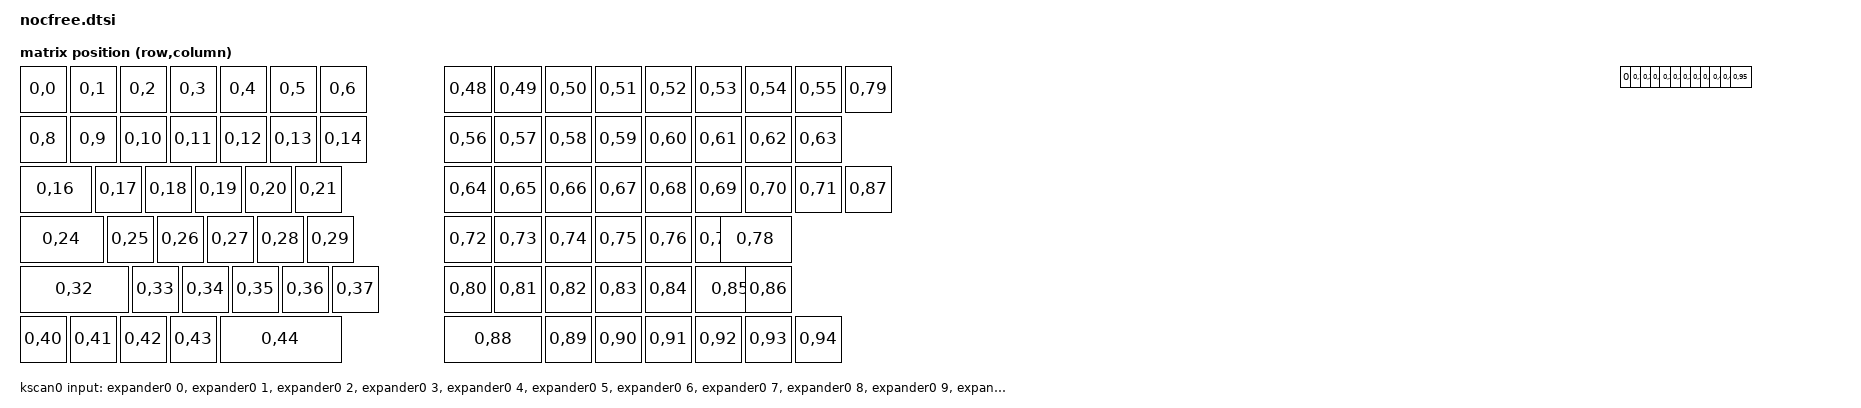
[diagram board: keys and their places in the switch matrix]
/*
 * Shared hardware definition for the NocFree "&" split keyboard (nRF52833).
 *
 * Pin assignments below were determined empirically (flash-and-test) and hold
 * for both halves EXCEPT where noted; the right half's differing pins are
 * overridden in nocfree_right_*.dts. Re-verify against both halves before
 * changing anything here.
 *
 *   MCU            nRF52833 (both halves and the dongle)
 *   I2C            SDA P0.11, SCL P1.09, 400 kHz
 *   Key inputs     3x PCA9555 16-bit I/O expanders at 0x20 / 0x22 / 0x24,
 *                    all pins configured as inverted inputs
 *                    => NOT a scanned matrix. 48 direct-wired keys, one per pin.
 *   Expander INT   LEFT: P0.31   RIGHT: P0.05  (differ between halves)
 *   Battery        ADC on P0.04 (AIN2), divider enable P0.05 (high only while sampling)
 *   Status LED     P0.09
 *
 * KEY MAPPING: each expander port maps one 8-bit "row" per half, so the
 * input-gpios order below is already row-major and needs no reordering. Which
 * physical columns belong to which half was determined empirically.
 */

#include <dt-bindings/zmk/matrix_transform.h>
#include <dt-bindings/regulator/nrf5x.h>
#include <physical_layouts.dtsi>
#include <nordic/nrf52833_qiaa.dtsi>
/* Required for &bootloader to reach the UF2 bootloader on ZMK main:
 * defines the gpregret1 retention area + magic mapper. Without it
 * &bootloader is a plain reset. */
#include <common/nordic/nrf52833_uf2_boot_mode.dtsi>

/ {
	chosen {
		zephyr,code-partition = &code_partition;
		zmk,kscan = &kscan0;
		zmk,physical-layout = &default_layout;
	};

	/*
	 * 48 direct-wired inputs. Keys pull to ground, so ACTIVE_LOW; we let ZMK
	 * handle the inversion rather than using the expanders' polarity registers.
	 */
	kscan0: kscan_direct {
		compatible = "zmk,kscan-gpio-direct";
		wakeup-source;

		/*
		 * TIMING -- these are NOT the ZMK defaults, and the defaults are wrong
		 * for this board.
		 *
		 * ZMK's defaults (debounce-scan-period-ms = 1, poll-period-ms = 10)
		 * assume inputs that can be read in nanoseconds. Ours are 48 keys behind
		 * THREE PCA9555 expanders on a single 400 kHz I2C bus. ZMK reads one
		 * port per chip per scan (kscan_gpio_pin_get caches by port), so a scan
		 * is 3 I2C transactions ~= 600-900 us.
		 *
		 * With the 1 ms default, a scan does not reliably fit inside its own
		 * period while a key is held. `scan_time` then drifts into the past,
		 * K_TIMEOUT_ABS_MS fires immediately, and the SYSTEM WORKQUEUE
		 * saturates -- which starves USB and BLE, because they share it. The
		 * observable symptoms are missed key releases (keys "stick") and
		 * spurious USB re-enumeration.
		 *
		 * 5 ms leaves ~4 ms of headroom per scan and is still far faster than
		 * any human keypress. 20 ms idle polling cuts bus traffic when nothing
		 * is pressed.
		 */
		debounce-scan-period-ms = <5>;
		poll-period-ms = <20>;

		input-gpios =
			<&expander0  0 GPIO_ACTIVE_LOW>,
			<&expander0  1 GPIO_ACTIVE_LOW>,
			<&expander0  2 GPIO_ACTIVE_LOW>,
			<&expander0  3 GPIO_ACTIVE_LOW>,
			<&expander0  4 GPIO_ACTIVE_LOW>,
			<&expander0  5 GPIO_ACTIVE_LOW>,
			<&expander0  6 GPIO_ACTIVE_LOW>,
			<&expander0  7 GPIO_ACTIVE_LOW>,
			<&expander0  8 GPIO_ACTIVE_LOW>,
			<&expander0  9 GPIO_ACTIVE_LOW>,
			<&expander0 10 GPIO_ACTIVE_LOW>,
			<&expander0 11 GPIO_ACTIVE_LOW>,
			<&expander0 12 GPIO_ACTIVE_LOW>,
			<&expander0 13 GPIO_ACTIVE_LOW>,
			<&expander0 14 GPIO_ACTIVE_LOW>,
			<&expander0 15 GPIO_ACTIVE_LOW>,
			<&expander1  0 GPIO_ACTIVE_LOW>,
			<&expander1  1 GPIO_ACTIVE_LOW>,
			<&expander1  2 GPIO_ACTIVE_LOW>,
			<&expander1  3 GPIO_ACTIVE_LOW>,
			<&expander1  4 GPIO_ACTIVE_LOW>,
			<&expander1  5 GPIO_ACTIVE_LOW>,
			<&expander1  6 GPIO_ACTIVE_LOW>,
			<&expander1  7 GPIO_ACTIVE_LOW>,
			<&expander1  8 GPIO_ACTIVE_LOW>,
			<&expander1  9 GPIO_ACTIVE_LOW>,
			<&expander1 10 GPIO_ACTIVE_LOW>,
			<&expander1 11 GPIO_ACTIVE_LOW>,
			<&expander1 12 GPIO_ACTIVE_LOW>,
			<&expander1 13 GPIO_ACTIVE_LOW>,
			<&expander1 14 GPIO_ACTIVE_LOW>,
			<&expander1 15 GPIO_ACTIVE_LOW>,
			<&expander2  0 GPIO_ACTIVE_LOW>,
			<&expander2  1 GPIO_ACTIVE_LOW>,
			<&expander2  2 GPIO_ACTIVE_LOW>,
			<&expander2  3 GPIO_ACTIVE_LOW>,
			<&expander2  4 GPIO_ACTIVE_LOW>,
			<&expander2  5 GPIO_ACTIVE_LOW>,
			<&expander2  6 GPIO_ACTIVE_LOW>,
			<&expander2  7 GPIO_ACTIVE_LOW>,
			<&expander2  8 GPIO_ACTIVE_LOW>,
			<&expander2  9 GPIO_ACTIVE_LOW>,
			<&expander2 10 GPIO_ACTIVE_LOW>,
			<&expander2 11 GPIO_ACTIVE_LOW>,
			<&expander2 12 GPIO_ACTIVE_LOW>,
			<&expander2 13 GPIO_ACTIVE_LOW>,
			<&expander2 14 GPIO_ACTIVE_LOW>,
			<&expander2 15 GPIO_ACTIVE_LOW>;
	};

	/*
	 * Physical layout for ZMK Studio (user geometry).
	 * r0: PrtSc Home Del | r1: Bksp PgUp | r2: \\ PgDn | left: one space.
	 * Regen: python tools/gen_studio_layout.py
	 */
	default_layout: physical_layout_0 {
		compatible = "zmk,physical-layout";
		display-name = "NocFree &";
		transform = <&default_transform>;
		/* Generated by tools/gen_studio_layout.py */
		keys
			= <&key_physical_attrs 100 100    0    0 0 0 0>
			, <&key_physical_attrs 100 100  100    0 0 0 0>
			, <&key_physical_attrs 100 100  200    0 0 0 0>
			, <&key_physical_attrs 100 100  300    0 0 0 0>
			, <&key_physical_attrs 100 100  400    0 0 0 0>
			, <&key_physical_attrs 100 100  500    0 0 0 0>
			, <&key_physical_attrs 100 100  600    0 0 0 0>
			, <&key_physical_attrs  50  50 3200    0 0 0 0>
			, <&key_physical_attrs 100 100    0  100 0 0 0>
			, <&key_physical_attrs 100 100  100  100 0 0 0>
			, <&key_physical_attrs 100 100  200  100 0 0 0>
			, <&key_physical_attrs 100 100  300  100 0 0 0>
			, <&key_physical_attrs 100 100  400  100 0 0 0>
			, <&key_physical_attrs 100 100  500  100 0 0 0>
			, <&key_physical_attrs 100 100  600  100 0 0 0>
			, <&key_physical_attrs  50  50 3220    0 0 0 0>
			, <&key_physical_attrs 150 100    0  200 0 0 0>
			, <&key_physical_attrs 100 100  150  200 0 0 0>
			, <&key_physical_attrs 100 100  250  200 0 0 0>
			, <&key_physical_attrs 100 100  350  200 0 0 0>
			, <&key_physical_attrs 100 100  450  200 0 0 0>
			, <&key_physical_attrs 100 100  550  200 0 0 0>
			, <&key_physical_attrs  50  50 3240    0 0 0 0>
			, <&key_physical_attrs  50  50 3260    0 0 0 0>
			, <&key_physical_attrs 175 100    0  300 0 0 0>
			, <&key_physical_attrs 100 100  175  300 0 0 0>
			, <&key_physical_attrs 100 100  275  300 0 0 0>
			, <&key_physical_attrs 100 100  375  300 0 0 0>
			, <&key_physical_attrs 100 100  475  300 0 0 0>
			, <&key_physical_attrs 100 100  575  300 0 0 0>
			, <&key_physical_attrs  50  50 3280    0 0 0 0>
			, <&key_physical_attrs  50  50 3300    0 0 0 0>
			, <&key_physical_attrs 225 100    0  400 0 0 0>
			, <&key_physical_attrs 100 100  225  400 0 0 0>
			, <&key_physical_attrs 100 100  325  400 0 0 0>
			, <&key_physical_attrs 100 100  425  400 0 0 0>
			, <&key_physical_attrs 100 100  525  400 0 0 0>
			, <&key_physical_attrs 100 100  625  400 0 0 0>
			, <&key_physical_attrs  50  50 3320    0 0 0 0>
			, <&key_physical_attrs  50  50 3340    0 0 0 0>
			, <&key_physical_attrs 100 100    0  500 0 0 0>
			, <&key_physical_attrs 100 100  100  500 0 0 0>
			, <&key_physical_attrs 100 100  200  500 0 0 0>
			, <&key_physical_attrs 100 100  300  500 0 0 0>
			, <&key_physical_attrs 250 100  400  500 0 0 0>
			, <&key_physical_attrs  50  50 3360    0 0 0 0>
			, <&key_physical_attrs  50  50 3380    0 0 0 0>
			, <&key_physical_attrs  50  50 3400    0 0 0 0>
			, <&key_physical_attrs 100 100  850    0 0 0 0>
			, <&key_physical_attrs 100 100  950    0 0 0 0>
			, <&key_physical_attrs 100 100 1050    0 0 0 0>
			, <&key_physical_attrs 100 100 1150    0 0 0 0>
			, <&key_physical_attrs 100 100 1250    0 0 0 0>
			, <&key_physical_attrs 100 100 1350    0 0 0 0>
			, <&key_physical_attrs 100 100 1450    0 0 0 0>
			, <&key_physical_attrs 100 100 1550    0 0 0 0>
			, <&key_physical_attrs 100 100  850  100 0 0 0>
			, <&key_physical_attrs 100 100  950  100 0 0 0>
			, <&key_physical_attrs 100 100 1050  100 0 0 0>
			, <&key_physical_attrs 100 100 1150  100 0 0 0>
			, <&key_physical_attrs 100 100 1250  100 0 0 0>
			, <&key_physical_attrs 100 100 1350  100 0 0 0>
			, <&key_physical_attrs 100 100 1450  100 0 0 0>
			, <&key_physical_attrs 100 100 1550  100 0 0 0>
			, <&key_physical_attrs 100 100  850  200 0 0 0>
			, <&key_physical_attrs 100 100  950  200 0 0 0>
			, <&key_physical_attrs 100 100 1050  200 0 0 0>
			, <&key_physical_attrs 100 100 1150  200 0 0 0>
			, <&key_physical_attrs 100 100 1250  200 0 0 0>
			, <&key_physical_attrs 100 100 1350  200 0 0 0>
			, <&key_physical_attrs 100 100 1450  200 0 0 0>
			, <&key_physical_attrs 100 100 1550  200 0 0 0>
			, <&key_physical_attrs 100 100  850  300 0 0 0>
			, <&key_physical_attrs 100 100  950  300 0 0 0>
			, <&key_physical_attrs 100 100 1050  300 0 0 0>
			, <&key_physical_attrs 100 100 1150  300 0 0 0>
			, <&key_physical_attrs 100 100 1250  300 0 0 0>
			, <&key_physical_attrs 100 100 1350  300 0 0 0>
			, <&key_physical_attrs 150 100 1400  300 0 0 0>
			, <&key_physical_attrs 100 100 1650    0 0 0 0>
			, <&key_physical_attrs 100 100  850  400 0 0 0>
			, <&key_physical_attrs 100 100  950  400 0 0 0>
			, <&key_physical_attrs 100 100 1050  400 0 0 0>
			, <&key_physical_attrs 100 100 1150  400 0 0 0>
			, <&key_physical_attrs 100 100 1250  400 0 0 0>
			, <&key_physical_attrs 150 100 1350  400 0 0 0>
			, <&key_physical_attrs 100 100 1450  400 0 0 0>
			, <&key_physical_attrs 100 100 1650  200 0 0 0>	/* pos 87 PgDn: was 1550, which sat exactly on top of pos 71 (\) */
			, <&key_physical_attrs 200 100  850  500 0 0 0>
			, <&key_physical_attrs 100 100 1050  500 0 0 0>
			, <&key_physical_attrs 100 100 1150  500 0 0 0>
			, <&key_physical_attrs 100 100 1250  500 0 0 0>
			, <&key_physical_attrs 100 100 1350  500 0 0 0>
			, <&key_physical_attrs 100 100 1450  500 0 0 0>
			, <&key_physical_attrs 100 100 1550  500 0 0 0>
			, <&key_physical_attrs  50  50 3420    0 0 0 0>
			;
	};

	default_transform: keymap_transform_0 {
		compatible = "zmk,matrix-transform";
		/*
		 * 96 columns = the WHOLE keyboard, and BOTH halves use this map.
		 *
		 * zmk_matrix_transform_row_column_to_position() does:
		 *     column += col_offset;
		 *     index   = row * columns + column;
		 *     return lookup_table[index] - 1;      // the MAP INDEX, not the RC value
		 *
		 * So the returned position is the position of the entry within `map`. A
		 * 48-entry map can therefore only ever return 0-47 no matter what RC()
		 * values it holds -- which is why an earlier attempt at giving the right
		 * half its own 48-entry map with col-offset=48 did NOT separate the halves.
		 *
		 * The central adds no per-peripheral offset either (central.c computes
		 * position = (i * 8) + j from the peripheral's bitmap), so separation has
		 * to come from col-offset on the peripheral against a full-width map.
		 *
		 * Left keeps col-offset 0  -> its kscan cols 0-47 index entries 0-47.
		 * Right sets col-offset 48 -> its kscan cols 0-47 index entries 48-95.
		 */
		columns = <96>;
		rows = <1>;
		map = <
			RC(0,0) RC(0,1) RC(0,2) RC(0,3) RC(0,4) RC(0,5)
			RC(0,6) RC(0,7) RC(0,8) RC(0,9) RC(0,10) RC(0,11)
			RC(0,12) RC(0,13) RC(0,14) RC(0,15) RC(0,16) RC(0,17)
			RC(0,18) RC(0,19) RC(0,20) RC(0,21) RC(0,22) RC(0,23)
			RC(0,24) RC(0,25) RC(0,26) RC(0,27) RC(0,28) RC(0,29)
			RC(0,30) RC(0,31) RC(0,32) RC(0,33) RC(0,34) RC(0,35)
			RC(0,36) RC(0,37) RC(0,38) RC(0,39) RC(0,40) RC(0,41)
			RC(0,42) RC(0,43) RC(0,44) RC(0,45) RC(0,46) RC(0,47)
			RC(0,48) RC(0,49) RC(0,50) RC(0,51) RC(0,52) RC(0,53)
			RC(0,54) RC(0,55) RC(0,56) RC(0,57) RC(0,58) RC(0,59)
			RC(0,60) RC(0,61) RC(0,62) RC(0,63) RC(0,64) RC(0,65)
			RC(0,66) RC(0,67) RC(0,68) RC(0,69) RC(0,70) RC(0,71)
			RC(0,72) RC(0,73) RC(0,74) RC(0,75) RC(0,76) RC(0,77)
			RC(0,78) RC(0,79) RC(0,80) RC(0,81) RC(0,82) RC(0,83)
			RC(0,84) RC(0,85) RC(0,86) RC(0,87) RC(0,88) RC(0,89)
			RC(0,90) RC(0,91) RC(0,92) RC(0,93) RC(0,94) RC(0,95)
		>;
	};
	/*
	 * Battery. The divider is only powered while sampling: drive the enable
	 * pin high, wait ~1 ms, read, drop it again. `power-gpios` reproduces
	 * that, so we do not burn current through the divider continuously.
	 *
	 *   Battery sense: P0.04 = AIN2
	 *   Divider enable: P0.05  (LEFT half — differs on the right, see its dts)
	 *
	 * Stock voltage->percent curve:
	 *     percent = clamp( ((mV * 1/33) - 70) * 10 / 3, 0, 100 )
	 * so 0% at 2310 mV and 100% at 3300 mV measured at the ADC pin.
	 *
	 * RATIO: the vendor's porting notes state the factory firmware scales the
	 * measured pin voltage by 130/100 to reach battery voltage -- a divider
	 * ratio of 100/130 = 0.7692. An earlier inferred 1M/1.27M (0.7874) was
	 * ~2.4% off; the vendor figure is used below.
	 *
	 * This only affects the reported VOLTAGE. Battery PERCENTAGE does not go
	 * through it: NOCFREE_BATTERY_STOCK_CURVE applies the stock transfer
	 * function to the raw pin millivolts.
	 */
	vbatt: vbatt {
		compatible = "zmk,battery-voltage-divider";
		io-channels = <&adc 2>;           /* AIN2 = P0.04 */
		output-ohms = <100>;              /* vendor: pin -> battery is x130/100 */
		full-ohms = <130>;                /* ratio 0.7692 */
		power-gpios = <&gpio0 5 GPIO_ACTIVE_HIGH>;  /* P0.05 */
	};

	/*
	 * LEDs, per the vendor's porting notes.
	 *
	 * P0.09 is NOT a general status LED: it is the RED charge / low-battery
	 * indicator, shared with charge status, and the factory firmware emulates
	 * open-drain on it and RELEASES the pin while USB-powered. Driving it
	 * push-pull while the charger also drives it is output contention, so it
	 * is defined here and deliberately left alone.
	 *
	 * P0.10 is the BLUE status LED, plain GPIO, active low. Left half only --
	 * the vendor's right-half pin table has no equivalent.
	 */
	leds {
		compatible = "gpio-leds";
		charge_led: led_0 {
			gpios = <&gpio0 9 GPIO_ACTIVE_HIGH>;
			label = "Red charge/low-battery indicator";
		};
		status_led: led_1 {
			gpios = <&gpio0 10 GPIO_ACTIVE_LOW>;
			label = "Blue status LED";
		};
	};

	/*
	 * Deep-sleep wake. All three PCA9555 INT lines are wired-OR to one
	 * nRF pin (LEFT default P0.31; RIGHT overrides to P0.05). kscan cannot
	 * wake from SYSTEM OFF by itself because keys are polled over I2C.
	 *
	 * IMPORTANT: do NOT put mode-switch pins (P0.15/P0.17) here. Touching
	 * those GPIOs races mode_switch.c (CHANGE IRQs + 2.4G/BT/USB select)
	 * and can break dongle mode after a sleep-keeper flash. Left recovery
	 * from failed INT wake = flip mode switch only works as a *physical*
	 * edge if we arm it carefully later; for now key INT only.
	 * Right recovery = battery power switch.
	 * See src/expander_int_wake.c.
	 */
	expander_int_wake0: expander_int_wake {
		compatible = "nocfree,expander-int-wake";
		status = "okay";
		int-gpios = <&gpio0 31 (GPIO_ACTIVE_LOW | GPIO_PULL_UP)>;
	};
};

&i2c0 {
	status = "okay";
	compatible = "nordic,nrf-twim";
	clock-frequency = <I2C_BITRATE_FAST>;   /* 400 kHz -- LEFT only. The right
	                                         * half runs its I2C at 100 kHz; the
	                                         * right dts overrides this to STANDARD. */
	pinctrl-0 = <&i2c0_default>;
	pinctrl-1 = <&i2c0_sleep>;
	pinctrl-names = "default", "sleep";

	/*
	 * NO interrupt-gpios -- deliberately. All three expanders wired-OR their
	 * open-drain INT onto P0.31, but Zephyr's pca95xx driver claims the pin per
	 * instance: the last one to initialise overwrites the others' callbacks, and
	 * its handler only reads its own chip. A different chip's interrupt would then
	 * never be serviced, INT would stay asserted, no further edges would arrive,
	 * and interrupts would stop working ENTIRELY -- worse than not using them.
	 *
	 * So kscan polls the expanders over I2C instead. That is still sound: ZMK
	 * samples and emits discrete position-change events, and unlike the stock
	 * firmware it does not collapse a press+release into "no change" (that bug
	 * was in the vendor's ingest, not in polling per se).
	 *
	 * TODO: to get true event-driven scanning, declare the INT on ONE node and
	 * have its handler read all three chips -- needs a wrapper around the driver.
	 */
	expander0: pca9555@20 {
		compatible = "nxp,pca95xx";
		reg = <0x20>;
		gpio-controller;
		#gpio-cells = <2>;
		ngpios = <16>;
	};

	expander1: pca9555@22 {
		compatible = "nxp,pca95xx";
		reg = <0x22>;
		gpio-controller;
		#gpio-cells = <2>;
		ngpios = <16>;
	};

	expander2: pca9555@24 {
		compatible = "nxp,pca95xx";
		reg = <0x24>;
		gpio-controller;
		#gpio-cells = <2>;
		ngpios = <16>;
	};
};

&pinctrl {
	i2c0_default: i2c0_default {
		group1 {
			psels = <NRF_PSEL(TWIM_SDA, 0, 11)>,   /* P0.11 */
				<NRF_PSEL(TWIM_SCL, 1, 9)>;    /* P1.09 */
		};
	};

	i2c0_sleep: i2c0_sleep {
		group1 {
			psels = <NRF_PSEL(TWIM_SDA, 0, 11)>,
				<NRF_PSEL(TWIM_SCL, 1, 9)>;
			low-power-enable;
		};
	};
};

/*
 * DC/DC regulator on. BOTH stock halves write 1 to POWER+0x578 (DCDCEN) at
 * boot -- that address IS this node's reg, so the vendor qualified the DC/DC
 * inductor circuit on this PCB. nrf52/soc.c applies this property at init.
 */
&reg1 {
	regulator-initial-mode = <NRF5X_REG_MODE_DCDC>;
};

&adc { status = "okay"; };
&gpio0 { status = "okay"; };
/*
 * GPIOTE must be enabled or gpio_nrfx.c fails a static assert:
 * "Please enable GPIOTE instance for used GPIO port!". Zephyr's nRF GPIO driver
 * pulls in nrfx_gpiote unconditionally, and every enabled GPIO port needs an
 * instance behind it -- this is not optional even though our kscan polls the
 * I2C expanders rather than using nRF interrupts.
 */
&gpiote {
	status = "okay";
};

&gpio1 { status = "okay"; };
&usbd { status = "okay"; };

/*
 * Flash layout must match the stock Adafruit UF2 bootloader, which jumps to the
 * application at 0x27000 (the standard Adafruit-nRF52 app offset).
 *
 * ZMK uses Zephyr's own BLE stack, not the Nordic SoftDevice, so the 0x1000-0x27000
 * SoftDevice region is dead space here. ZMK's `nrf52833-nosd` snippet reclaims it
 * (280 KB -> 428 KB). Build with `-S nrf52833-nosd` if you want the extra room;
 * the layout below is the conservative one that leaves the bootloader untouched.
 */
&flash0 {
	partitions {
		compatible = "fixed-partitions";
		#address-cells = <1>;
		#size-cells = <1>;

		/*
		 * nRF52833 has 512 KB (0x80000) of flash -- NOT 1 MB. An earlier
		 * version of this file used nRF52840 offsets and ran to 0x100000,
		 * i.e. double the real flash, with a code partition that would have
		 * overlapped the bootloader. Anything that overwrites the bootloader
		 * on a device with no reset button is an unrecoverable brick, so
		 * these numbers matter more here than usual.
		 *
		 * App entry at 0x27000 is the one hard fact: every stock .uf2, for
		 * both halves and the dongle, has its first block targeting 0x27000.
		 * The top 48 KB is the Adafruit bootloader and its settings.
		 *
		 * 276 KB of code space, matching the ~280 KB expected for this part with
		 * the SoftDevice region reserved.
		 *
		 * DO NOT use ZMK's `nrf52833-nosd` snippet here. It relocates the code
		 * partition to 0x1000, which is only valid for bootloaders that jump
		 * there. This one jumps to 0x27000, so the resulting image would not
		 * boot. Reclaiming that 156 KB would mean replacing the vendor
		 * bootloader, which we are explicitly not doing.
		 */
		sd_partition: partition@0 {
			label = "softdevice";
			reg = <0x00000000 0x00027000>;
		};

		code_partition: partition@27000 {
			label = "code";
			reg = <0x00027000 0x00045000>;
		};

		storage_partition: partition@6c000 {
			label = "storage";
			reg = <0x0006c000 0x00008000>;
		};

		boot_partition: partition@74000 {
			label = "adafruit_boot";
			reg = <0x00074000 0x0000c000>;
		};
	};
};
